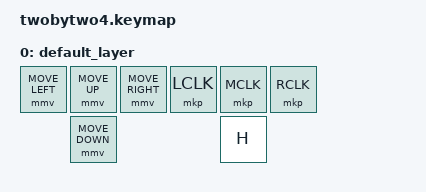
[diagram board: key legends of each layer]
#include <behaviors.dtsi>
#include <dt-bindings/zmk/keys.h>
#include <dt-bindings/zmk/mouse.h>

/ {
  keymap {
    compatible = "zmk,keymap";

  default_layer {

// +-----+-----+-----+   +-----+-----+-----+
// |  A  |  B  |  C  |   |  D  |  E  |  F  |
// +-----+-----+-----+   +-----+-----+-----+
// |        G        |   |        H        |
// +-----------------+   +-----------------+

    bindings = <
//           &kp A   &kp B   &kp C   &kp D   &kp E    &kp F
//                   &kp G                   &kp H
           &mmv MOVE_LEFT  &mmv MOVE_UP  &mmv MOVE_RIGHT  &mkp LCLK   &mkp MCLK   &mkp RCLK
                           &mmv MOVE_DOWN                            &kp H
    >;
    };
  };
};
